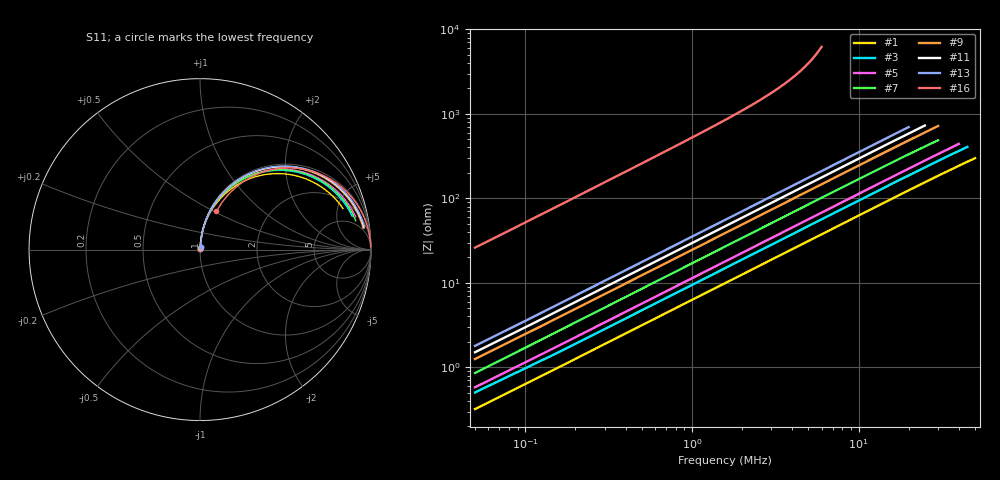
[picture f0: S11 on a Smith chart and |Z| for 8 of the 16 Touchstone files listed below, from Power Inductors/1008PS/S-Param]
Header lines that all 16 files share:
! 7 October 2002
# MHZ S MA R 50
!Freq  MagS11  AngS11  MagS21  AngS21  MagS12  AngS12  MagS22  AngS22
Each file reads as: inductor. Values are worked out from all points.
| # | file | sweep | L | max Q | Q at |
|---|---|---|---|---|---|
| 1 | 10PS102.S2P | 50 kHz to 50 MHz | 1 uH | 38 | 800 kHz |
| 2 | 10PS103.S2P | 50 kHz to 12 MHz | 10 uH | 65.1 | 1.94 MHz |
| 3 | 10PS152.S2P | 50 kHz to 45 MHz | 1.5 uH | 38.9 | 1.394 MHz |
| 4 | 10PS153.S2P | 50 kHz to 10 MHz | 15 uH | 67.7 | 2 MHz |
| 5 | 10PS182.S2P | 50 kHz to 40 MHz | 1.8 uH | 41 | 1.15 MHz |
| 6 | 10PS223.S2P | 50 kHz to 9 MHz | 22 uH | 67.7 | 1.92 MHz |
| 7 | 10PS272.S2P | 50 kHz to 30 MHz | 2.7 uH | 44.5 | 650 kHz |
| 8 | 10PS333.S2P | 50 kHz to 9 MHz | 33 uH | 73.5 | 1.744 MHz |
| 9 | 10PS392.S2P | 50 kHz to 30 MHz | 3.9 uH | 51.7 | 1.1 MHz |
| 10 | 10PS393.S2P | 50 kHz to 8 MHz | 39 uH | 73 | 1.39 MHz |
| 11 | 10PS472.S2P | 50 kHz to 25 MHz | 4.7 uH | 56.4 | 1.104 MHz |
| 12 | 10PS473.S2P | 50 kHz to 8 MHz | 47 uH | 73.4 | 1.69 MHz |
| 13 | 10PS562.S2P | 50 kHz to 20 MHz | 5.6 uH | 58.4 | 1.15 MHz |
| 14 | 10PS682.S2P | 50 kHz to 16 MHz | 6.8 uH | 61 | 1.57 MHz |
| 15 | 10PS683.S2P | 50 kHz to 7 MHz | 68 uH | 70.2 | 1.631 MHz |
| 16 | 10PS823.S2P | 50 kHz to 6 MHz | 82 uH | 69.1 | 1.355 MHz |
